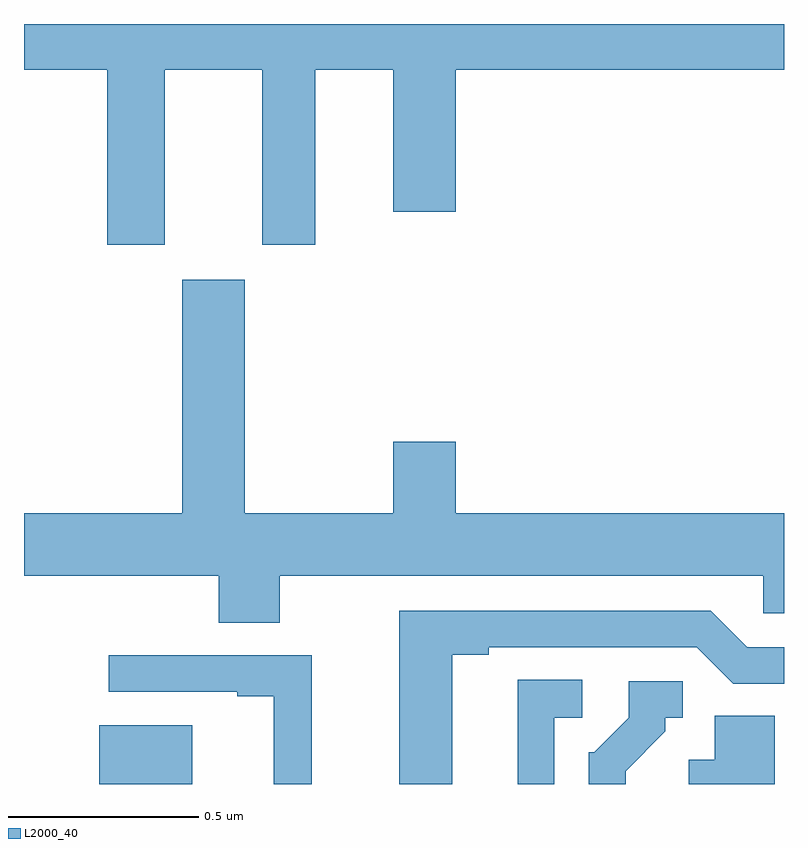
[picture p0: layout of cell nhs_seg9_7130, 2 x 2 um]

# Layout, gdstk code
import gdstk
lib = gdstk.Library(unit=1e-6, precision=1e-09)
def R(c, l, rs):  # rectangles x0, y0, x1, y1
    for r in rs: c.add(gdstk.rectangle(r[:2], r[2:], *l))
def P(c, l, *ps):  # polygons
    for p in ps: c.add(gdstk.Polygon(p, *l))
L2000_40 = (2000, 40)

nhs_seg9_7130 = lib.new_cell('nhs_seg9_7130')
R(nhs_seg9_7130, L2000_40, [(200.198,1234.5,200.443,1234.654)])
P(nhs_seg9_7130, L2000_40, [(200.371,1236.38),(200.627,1236.38),(200.627,1235.919),(200.767,1235.919),(200.767,1236.38),(200.972,1236.38),(200.972,1236.006),(201.136,1236.006),(201.136,1236.38),(202,1236.38),(202,1236.5),(200,1236.5),(200,1236.38),(200.219,1236.38),(200.219,1235.919),(200.371,1235.919)],
  [(200.673,1235.048),(201.945,1235.048),(201.945,1234.95),(202,1234.95),(202,1235.212),(201.136,1235.212),(201.136,1235.401),(200.972,1235.401),(200.972,1235.212),(200.581,1235.212),(200.581,1235.827),(200.417,1235.827),(200.417,1235.212),(200,1235.212),(200,1235.048),(200.513,1235.048),(200.513,1234.924),(200.673,1234.924)],
  [(201.127,1234.84),(201.223,1234.84),(201.223,1234.86),(201.771,1234.86),(201.867,1234.764),(202,1234.764),(202,1234.86),(201.903,1234.86),(201.807,1234.956),(200.987,1234.956),(200.987,1234.5),(201.127,1234.5)],
  [(200.757,1234.839),(200.223,1234.839),(200.223,1234.743),(200.561,1234.743),(200.561,1234.731),(200.657,1234.731),(200.657,1234.5),(200.757,1234.5)],
  [(201.396,1234.674),(201.469,1234.674),(201.469,1234.775),(201.299,1234.775),(201.299,1234.5),(201.396,1234.5)],
  [(201.583,1234.534),(201.688,1234.639),(201.688,1234.674),(201.733,1234.674),(201.733,1234.77),(201.591,1234.77),(201.591,1234.674),(201.501,1234.584),(201.486,1234.584),(201.486,1234.5),(201.583,1234.5)],
  [(201.976,1234.679),(201.818,1234.679),(201.818,1234.564),(201.749,1234.564),(201.749,1234.5),(201.976,1234.5)])

lib.write_gds('nhs_seg9_7130.gds')
